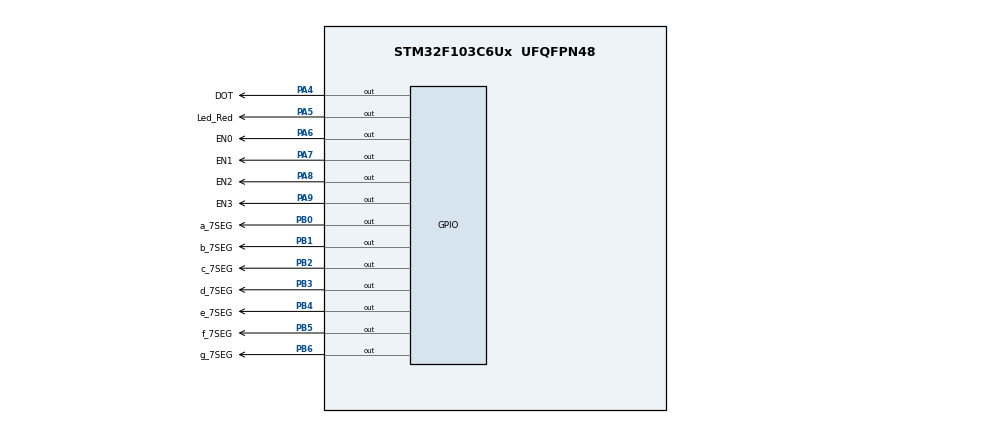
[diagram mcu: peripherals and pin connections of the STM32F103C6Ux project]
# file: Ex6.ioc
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Mcu.Family=STM32F1
Mcu.Name=STM32F103C6Ux
Mcu.Package=UFQFPN48
NVIC.PriorityGroup=NVIC_PRIORITYGROUP_4
NVIC.TIM2_IRQn=true\:0\:0\:false\:false\:true\:true\:true
PA4.GPIO_Label=DOT
PA4.Signal=GPIO_Output
PA5.GPIO_Label=Led_Red
PA5.Signal=GPIO_Output
PA6.GPIO_Label=EN0
PA6.Signal=GPIO_Output
PA7.GPIO_Label=EN1
PA7.Signal=GPIO_Output
PA8.GPIO_Label=EN2
PA8.Signal=GPIO_Output
PA9.GPIO_Label=EN3
PA9.Signal=GPIO_Output
PB0.GPIO_Label=a_7SEG
PB0.Signal=GPIO_Output
PB1.GPIO_Label=b_7SEG
PB1.Signal=GPIO_Output
PB2.GPIO_Label=c_7SEG
PB2.Signal=GPIO_Output
PB3.GPIO_Label=d_7SEG
PB3.Signal=GPIO_Output
PB4.GPIO_Label=e_7SEG
PB4.Signal=GPIO_Output
PB5.GPIO_Label=f_7SEG
PB5.Signal=GPIO_Output
PB6.GPIO_Label=g_7SEG
PB6.Signal=GPIO_Output
ProjectManager.HeapSize=0x200
ProjectManager.StackSize=0x400
ProjectManager.TargetToolchain=STM32CubeIDE
RCC.APB1Freq_Value=8000000
RCC.APB2Freq_Value=8000000
TIM2.Period=9
TIM2.Prescaler=7999
VP_SYS_VS_ND.Mode=No_Debug
VP_TIM2_VS_ClockSourceINT.Mode=Internal
board=custom

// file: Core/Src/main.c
/* USER CODE BEGIN Header */
/**
  ******************************************************************************
  * @file           : main.c
  * @brief          : Main program body
  ******************************************************************************
  * @attention
  *
  * <h2><center>&copy; Copyright (c) 2022 STMicroelectronics.
  * All rights reserved.</center></h2>
  *
  * This software component is licensed by ST under BSD 3-Clause license,
  * the "License"; You may not use this file except in compliance with the
  * License. You may obtain a copy of the License at:
  *                        opensource.org/licenses/BSD-3-Clause
  *
  ******************************************************************************
  */
/* USER CODE END Header */
#include "main.h"

TIM_HandleTypeDef htim2;

void SystemClock_Config(void);
static void MX_TIM2_Init(void);
static void MX_GPIO_Init(void);

/* USER CODE BEGIN 0 */
void display7SEG (int counter){
    //Turn on all segments
    HAL_GPIO_WritePin(GPIOB, a_7SEG_Pin|b_7SEG_Pin|c_7SEG_Pin|
    d_7SEG_Pin|e_7SEG_Pin|f_7SEG_Pin|g_7SEG_Pin, 0);

	switch (counter){
    	case 0:
		    HAL_GPIO_WritePin(GPIOB, g_7SEG_Pin, 1);
	  		break;
		case 1:
		    HAL_GPIO_WritePin(GPIOB, a_7SEG_Pin|d_7SEG_Pin|e_7SEG_Pin|
		    f_7SEG_Pin|g_7SEG_Pin, 1);
	  		break;
		case 2:
	  		HAL_GPIO_WritePin(GPIOB, c_7SEG_Pin|f_7SEG_Pin, 1);
	  		break;
		case 3:
	  	    HAL_GPIO_WritePin(GPIOB, e_7SEG_Pin|f_7SEG_Pin, 1);
	  	    break;
		case 4:
	  	    HAL_GPIO_WritePin(GPIOB, a_7SEG_Pin|d_7SEG_Pin|
	  		e_7SEG_Pin, 1);
	  		break;
		case 5:
	  		HAL_GPIO_WritePin(GPIOB, b_7SEG_Pin|e_7SEG_Pin, 1);
	  		break;
		case 6:
	  		HAL_GPIO_WritePin(GPIOB, b_7SEG_Pin, 1);
	  		break;
		case 7:
	  		HAL_GPIO_WritePin(GPIOB, d_7SEG_Pin|e_7SEG_Pin|f_7SEG_Pin|
	  		g_7SEG_Pin, 1);
	  		break;
		case 8:
	  		break;
		case 9:
	  		HAL_GPIO_WritePin(GPIOB, e_7SEG_Pin, 1);
	  		break;
		default:
	  		HAL_GPIO_WritePin(GPIOB, a_7SEG_Pin|b_7SEG_Pin|c_7SEG_Pin|
	  		d_7SEG_Pin|e_7SEG_Pin|f_7SEG_Pin|g_7SEG_Pin, 1);
	  		break;
	  }
}

void updateClockBuffer();

int hour = 15, minute = 8, second = 50;

int timer0_counter = 0;
int timer0_flag = 0;
int TIMER_CYCLE = 10;

void setTimer0(int duration){
	timer0_counter = duration /TIMER_CYCLE;
	timer0_flag = 0;
}
void timer_run(){
	if(timer0_counter > 0){
		timer0_counter--;
		if(timer0_counter == 0) timer0_flag = 1;
	}
}

/* USER CODE END 0 */

int main(void)
{

  /* MCU Configuration--------------------------------------------------------*/

  /* Reset of all peripherals, Initializes the Flash interface and the Systick. */
  HAL_Init();

  /* Configure the system clock */
  SystemClock_Config();

  /* Initialize all configured peripherals */
  MX_TIM2_Init();
  MX_GPIO_Init();
  /* USER CODE BEGIN 2 */
  HAL_TIM_Base_Start_IT (& htim2 );
  /* USER CODE END 2 */

  /* Infinite loop */
  /* USER CODE BEGIN WHILE */
  setTimer0(1000);
  while(1){
	  if(timer0_flag == 1){
	          HAL_GPIO_TogglePin(Led_Red_GPIO_Port, Led_Red_Pin);
	          setTimer0(2000);
	      }
  }
    /* USER CODE END WHILE */

}

void SystemClock_Config(void)
{
  RCC_OscInitTypeDef RCC_OscInitStruct = {0};
  RCC_ClkInitTypeDef RCC_ClkInitStruct = {0};

  /** Initializes the RCC Oscillators according to the specified parameters
  * in the RCC_OscInitTypeDef structure.
  */
  RCC_OscInitStruct.OscillatorType = RCC_OSCILLATORTYPE_HSI;
  RCC_OscInitStruct.HSIState = RCC_HSI_ON;
  RCC_OscInitStruct.HSICalibrationValue = RCC_HSICALIBRATION_DEFAULT;
  RCC_OscInitStruct.PLL.PLLState = RCC_PLL_NONE;
  if (HAL_RCC_OscConfig(&RCC_OscInitStruct) != HAL_OK)
  {
    Error_Handler();
  }
  /** Initializes the CPU, AHB and APB buses clocks
  */
  RCC_ClkInitStruct.ClockType = RCC_CLOCKTYPE_HCLK|RCC_CLOCKTYPE_SYSCLK
                              |RCC_CLOCKTYPE_PCLK1|RCC_CLOCKTYPE_PCLK2;
  RCC_ClkInitStruct.SYSCLKSource = RCC_SYSCLKSOURCE_HSI;
  RCC_ClkInitStruct.AHBCLKDivider = RCC_SYSCLK_DIV1;
  RCC_ClkInitStruct.APB1CLKDivider = RCC_HCLK_DIV1;
  RCC_ClkInitStruct.APB2CLKDivider = RCC_HCLK_DIV1;

  if (HAL_RCC_ClockConfig(&RCC_ClkInitStruct, FLASH_LATENCY_0) != HAL_OK)
  {
    Error_Handler();
  }
}

static void MX_TIM2_Init(void)
{

  TIM_ClockConfigTypeDef sClockSourceConfig = {0};
  TIM_MasterConfigTypeDef sMasterConfig = {0};

  htim2.Instance = TIM2;
  htim2.Init.Prescaler = 7999;
  htim2.Init.CounterMode = TIM_COUNTERMODE_UP;
  htim2.Init.Period = 9;
  htim2.Init.ClockDivision = TIM_CLOCKDIVISION_DIV1;
  htim2.Init.AutoReloadPreload = TIM_AUTORELOAD_PRELOAD_DISABLE;
  if (HAL_TIM_Base_Init(&htim2) != HAL_OK)
  {
    Error_Handler();
  }
  sClockSourceConfig.ClockSource = TIM_CLOCKSOURCE_INTERNAL;
  if (HAL_TIM_ConfigClockSource(&htim2, &sClockSourceConfig) != HAL_OK)
  {
    Error_Handler();
  }
  sMasterConfig.MasterOutputTrigger = TIM_TRGO_RESET;
  sMasterConfig.MasterSlaveMode = TIM_MASTERSLAVEMODE_DISABLE;
  if (HAL_TIMEx_MasterConfigSynchronization(&htim2, &sMasterConfig) != HAL_OK)
  {
    Error_Handler();
  }

}

static void MX_GPIO_Init(void)
{
  GPIO_InitTypeDef GPIO_InitStruct = {0};

  /* GPIO Ports Clock Enable */
  __HAL_RCC_GPIOA_CLK_ENABLE();
  __HAL_RCC_GPIOB_CLK_ENABLE();

  /*Configure GPIO pin Output Level */
  HAL_GPIO_WritePin(GPIOA, DOT_Pin|Led_Red_Pin|EN0_Pin|EN1_Pin
                          |EN2_Pin|EN3_Pin, GPIO_PIN_RESET);

  /*Configure GPIO pin Output Level */
  HAL_GPIO_WritePin(GPIOB, a_7SEG_Pin|b_7SEG_Pin|c_7SEG_Pin|d_7SEG_Pin
                          |e_7SEG_Pin|f_7SEG_Pin|g_7SEG_Pin, GPIO_PIN_RESET);

  /*Configure GPIO pins : DOT_Pin Led_Red_Pin EN0_Pin EN1_Pin
                           EN2_Pin EN3_Pin */
  GPIO_InitStruct.Pin = DOT_Pin|Led_Red_Pin|EN0_Pin|EN1_Pin
                          |EN2_Pin|EN3_Pin;
  GPIO_InitStruct.Mode = GPIO_MODE_OUTPUT_PP;
  GPIO_InitStruct.Pull = GPIO_NOPULL;
  GPIO_InitStruct.Speed = GPIO_SPEED_FREQ_LOW;
  HAL_GPIO_Init(GPIOA, &GPIO_InitStruct);

  /*Configure GPIO pins : a_7SEG_Pin b_7SEG_Pin c_7SEG_Pin d_7SEG_Pin
                           e_7SEG_Pin f_7SEG_Pin g_7SEG_Pin */
  GPIO_InitStruct.Pin = a_7SEG_Pin|b_7SEG_Pin|c_7SEG_Pin|d_7SEG_Pin
                          |e_7SEG_Pin|f_7SEG_Pin|g_7SEG_Pin;
  GPIO_InitStruct.Mode = GPIO_MODE_OUTPUT_PP;
  GPIO_InitStruct.Pull = GPIO_NOPULL;
  GPIO_InitStruct.Speed = GPIO_SPEED_FREQ_LOW;
  HAL_GPIO_Init(GPIOB, &GPIO_InitStruct);

}

/* USER CODE BEGIN 4 */
const int MAX_LED = 4;
int index_led = 0;
int led_buffer[4] = {1, 2, 3, 4};

void updateClockBuffer(){
	led_buffer[0] = hour / 10;		//First digit of hour
	led_buffer[1] = hour % 10;		//Second digit of hour
	led_buffer[2] = minute / 10;	//First digit of minute
	led_buffer[3] = minute % 10;	//Second digit of minute
}

void update7SEG(int index){
	HAL_GPIO_WritePin(GPIOA, EN0_Pin|EN1_Pin|EN2_Pin|EN3_Pin, 1);
	display7SEG(led_buffer[index]);
    switch (index){
        case 0:
            //Display the first 7SEG with led_buffer[0]
        	HAL_GPIO_WritePin(GPIOA, EN0_Pin, 0);
            break;
        case 1:
            //Display the second 7SEG with led_buffer[1]
        	HAL_GPIO_WritePin(GPIOA, EN1_Pin, 0);
            break;
        case 2:
            //Display the third 7SEG with led_buffer[2]
        	HAL_GPIO_WritePin(GPIOA, EN2_Pin, 0);
            break;
        case 3:
            //Display the forth 7SEG with led_buffer[3]
        	HAL_GPIO_WritePin(GPIOA, EN3_Pin, 0);
            break;
        default:
            break;
    }
}

int counter = 25;		//250 ms to switch 7 seg led
int dot_blink = 100;	//Blink dot every second

void HAL_TIM_PeriodElapsedCallback ( TIM_HandleTypeDef * htim )
{
	timer_run();
}
/* USER CODE END 4 */

void Error_Handler(void)
{
  __disable_irq();
  while (1)
  {
  }
}

/************************ (C) COPYRIGHT STMicroelectronics *****END OF FILE****/
